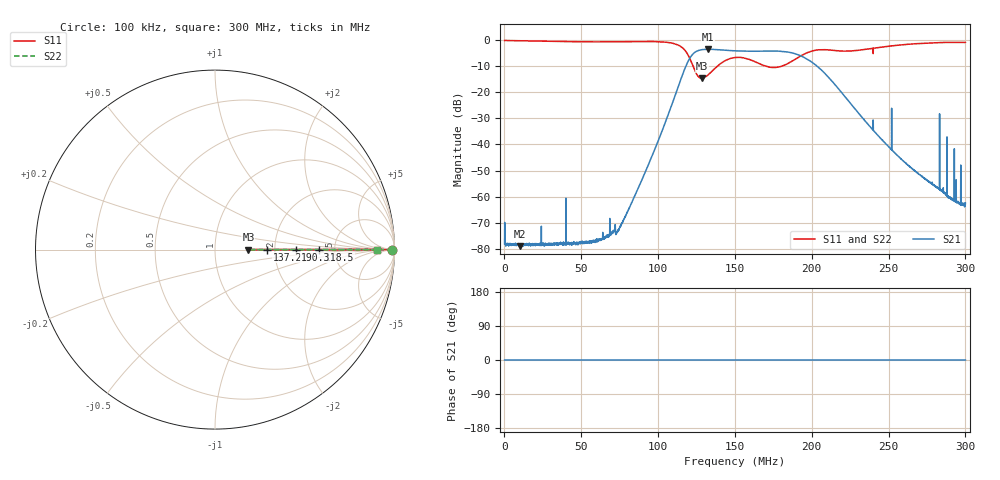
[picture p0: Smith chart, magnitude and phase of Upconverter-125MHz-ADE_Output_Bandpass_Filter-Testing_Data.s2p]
! ListType=Lin
! Comment=Upconverter-125MHz-ADE Output Bandpass Filter
# MHZ S DB R 50
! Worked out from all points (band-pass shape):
!   4000 points, 100 kHz to 300 MHz, reference 50 ohm
!   highest |S21| = -3.50 dB at 132.6 MHz (marker M1); lowest = -79.0 dB at 9.999 MHz (marker M2)
!   |S21| within 3 dB of the highest: 121.1 MHz to 194.6 MHz (73.49 MHz wide, 46.6 % of centre)
!   lowest |S11| = -14.6 dB at 128.3 MHz (marker M3), VSWR 1.46, Z = 72.9 + j0 ohm
!   |S11| at or under -10 dB: 122.7 MHz to 138.6 MHz (15.83 MHz wide, 12.1 % of centre); 170.1 MHz to 180.4 MHz (10.32 MHz wide, 5.89 % of centre)
!   |S22| runs from -14.6 to -0.1 dB; largest |S21 - S12| = 0.67
!   S11 on the Smith chart (normalised r, x): 100 kHz: open; 118.5 MHz: 3.77, +0.00; 137.2 MHz: 1.82, +0.00; 190.3 MHz: 2.63, +0.00; 300 MHz: 20, +0
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0.1  -0.13 0.0  -78.11 0.0  -3000.00 -90.0  -0.12 0.0
9.999175  -0.23 0.0  -78.98 0.0  -3000.00 -90.0  -0.23 0.0
50.12083  -0.62 0.0  -77.31 0.0  -3000.00 -90.0  -0.62 0.0
62.11983  -0.67 0.0  -76.88 0.0  -3000.00 -90.0  -0.67 0.0
73.81885  -0.63 0.0  -73.05 0.0  -3000.00 -90.0  -0.63 0.0
86.11783  -0.54 0.0  -57.96 0.0  -3000.00 -90.0  -0.53 0.0
100.0667  -0.58 0.0  -38.60 0.0  -3000.00 -90.0  -0.57 0.0
111.5407  -1.54 0.0  -20.46 0.0  -3000.00 -90.0  -1.54 0.0
118.5151  -4.72 0.0  -9.40 0.0  -3000.00 -90.0  -4.75 0.0
123.9147  -11.67 0.0  -4.68 0.0  -3000.00 -90.0  -11.70 0.0
128.2643  -14.61 0.0  -3.68 0.0  -3000.00 -90.0  -14.56 0.0
132.614  -13.27 0.0  -3.50 0.0  -3000.00 -90.0  -13.22 0.0
137.1886  -10.73 0.0  -3.59 0.0  -3000.00 -90.0  -10.70 0.0
150.0875  -6.65 0.0  -4.10 0.0  -3000.00 -90.0  -6.64 0.0
175.1354  -10.50 0.0  -4.18 0.0  -3000.00 -90.0  -10.49 0.0
190.2841  -6.96 0.0  -5.42 0.0  -3000.00 -90.0  -6.94 0.0
200.1083  -4.18 0.0  -8.45 0.0  -3000.00 -90.0  -4.18 0.0
220.7316  -4.20 0.0  -21.03 0.0  -3000.00 -90.0  -4.20 0.0
250.0542  -2.34 0.0  -40.85 0.0  -3000.00 -90.0  -2.34 0.0
265.5779  -1.45 0.0  -49.37 0.0  -3000.00 -90.0  -1.45 0.0
289.5759  -0.87 0.0  -60.44 0.0  -3000.00 -90.0  -0.87 0.0
300  -0.85 0.0  -62.48 0.0  -3000.00 -90.0  -0.91 0.0
